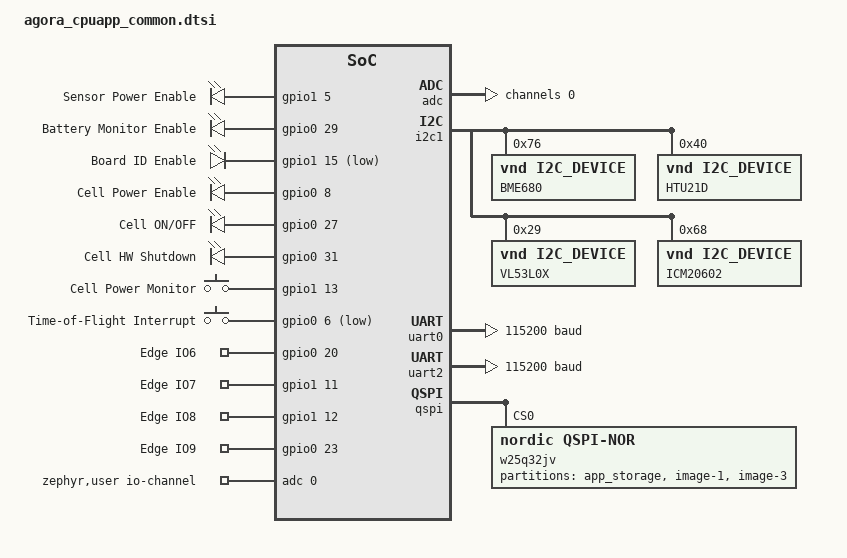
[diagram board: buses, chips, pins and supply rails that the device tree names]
#include "agora_common.dtsi"
#include "agora_cpuapp_pinctrl.dtsi"
#include <zephyr/dt-bindings/input/input-event-codes.h>

/ {

	chosen {
		zephyr,console = &uart0;
		zephyr,shell-uart = &uart0;
		zephyr,uart-mcumgr = &uart0;
		nordic,pm-ext-flash = &w25q32jv;
		zephyr,bt-mon-uart = &uart0;
		zephyr,bt-c2h-uart = &uart0;
		zephyr,bt-hci = &bt_hci_ipc0;
		nordic,802154-spinel-ipc = &ipc0;
	};

	brd_gpio_out {
		compatible = "gpio-leds";
		sensor_pwr_en: sensor_pwr_en {
			gpios = <&gpio1 5 GPIO_ACTIVE_HIGH>;
			label = "Sensor Power Enable";
		};

		bat_mon_en: bat_mon_en {
			gpios = <&gpio0 29 GPIO_ACTIVE_HIGH>;
			label = "Battery Monitor Enable";
		};

		board_id_en: board_id_en {
			gpios = <&gpio1 15 GPIO_ACTIVE_LOW>;
			label = "Board ID Enable";
		};

		cell_pwr_en: cell_pwr_en {
			gpios = <&gpio0 8 GPIO_ACTIVE_HIGH>;
			label = "Cell Power Enable";
		};

		cell_on_off: cell_on_off {
			gpios = <&gpio0 27 GPIO_ACTIVE_HIGH>;
			label = "Cell ON/OFF";
		};

		cell_hw_shutdown: cell_hw_shutdown {
			gpios = <&gpio0 31 GPIO_ACTIVE_HIGH>;
			label = "Cell HW Shutdown";
		};
	};

	brd_gpio_in {
		compatible = "gpio-keys";
		cell_pwr_mon: cell_pwr_mon {
			gpios = <&gpio1 13 (GPIO_PULL_DOWN | GPIO_ACTIVE_HIGH)>;
			label = "Cell Power Monitor";
		};

		int_tof: int_tof {
			gpios = <&gpio0 6 GPIO_ACTIVE_LOW >;
			label = "Time-of-Flight Interrupt";
		};

		te_gpio6: te_gpio6 {
			gpios = <&gpio0 20 (GPIO_PULL_DOWN | GPIO_ACTIVE_HIGH) >;
			label = "Edge IO6";
		};

		te_gpio7: te_gpio7 {
			gpios = <&gpio1 11 (GPIO_PULL_DOWN | GPIO_ACTIVE_HIGH) >;
			label = "Edge IO7";
		};

		te_gpio8: te_gpio8 {
			gpios = <&gpio1 12 (GPIO_PULL_DOWN | GPIO_ACTIVE_HIGH) >;
			label = "Edge IO8";
		};

		te_gpio9: te_gpio9 {
			gpios = <&gpio0 23 (GPIO_PULL_DOWN | GPIO_ACTIVE_HIGH) >;
			label = "Edge IO9";
		};
	};

};

&adc {
	status = "okay";
	#address-cells = <1>;
	#size-cells = <0>;

	channel@0 {
		reg = <0>;
		zephyr,gain = "ADC_GAIN_1_6";
		zephyr,reference = "ADC_REF_INTERNAL";
		zephyr,acquisition-time = <ADC_ACQ_TIME_DEFAULT>;
		zephyr,input-positive = <NRF_SAADC_AIN0>;
		zephyr,resolution = <12>;
	};
};

&gpiote {
	status = "okay";
};

&gpio0 {
	status = "okay";
};

&gpio1 {
	status = "okay";

	/*sensor_pwr_en_hog {
		gpio-hog;
		gpios = <5 GPIO_ACTIVE_HIGH>;
		output-high;
	};*/
};

&i2c1 {
	compatible = "nordic,nrf-twim";
	status = "okay";
	pinctrl-0 = <&i2c1_default>;
	pinctrl-1 = <&i2c1_sleep>;
	pinctrl-names = "default", "sleep";

	bme680: bme680@76 {
		compatible = "vnd,i2c_device";
		label = "BME680";
		status = "okay";
		reg = <0x76>;
	};

	htu21d: htu21d@40 {
		compatible = "vnd,i2c_device";
		label = "HTU21D";
		status = "okay";
		reg = <0x40>;
	};

	vl53l0x: vl53l0x@29 {
		compatible = "vnd,i2c_device";
		label = "VL53L0X";
		status = "okay";
		reg = <0x29>;
	};

	icm20602: icm20602@68 {
		compatible = "vnd,i2c_device";
		label = "ICM20602";
		status = "okay";
		reg = <0x68>;
	};
};

&uart0 {
	status = "okay";
	current-speed = <115200>;
	pinctrl-0 = <&uart0_default>;
	pinctrl-1 = <&uart0_sleep>;
	pinctrl-names = "default", "sleep";
};

&uart2 {
	status = "okay";
	current-speed = <115200>;
	pinctrl-0 = <&uart2_default>;
	pinctrl-1 = <&uart2_sleep>;
	pinctrl-names = "default", "sleep";
};

&flash0 {
	partitions {
		compatible = "fixed-partitions";
		#address-cells = <1>;
		#size-cells = <1>;

		boot_partition: partition@0 {
			label = "mcuboot";
			reg = <0x00000000 DT_SIZE_K(48)>;
		};

		/* slot0 / MCUboot primary slot*/
		slot0_partition: partition@c000 {
			label = "image-0";
			reg = <0x0000c000 DT_SIZE_K(900)>;
		};

		/* slot1 / MCUboot secondary is in external QSPI flash (see below) */
	};
};

&qspi {
	status = "okay";
	pinctrl-0 = <&qspi_default>;
	pinctrl-1 = <&qspi_sleep>;
	pinctrl-names = "default", "sleep";

	w25q32jv: w25q32jv@0 {
		compatible = "nordic,qspi-nor";
		reg = <0>;
		writeoc = "pp4o";
		readoc = "read4o";
		sck-frequency = <8000000>;
		jedec-id = [ef 40 16];
		size = <33554432>;
		/* ========================================================= */
		/* ADD LOW POWER PROPERTIES DIRECTLY INSIDE THE CHILD CHIP BLOCK */
		/* ========================================================= */
		has-dpd;              /* Enables Deep Power-Down command handling (0xB9) */
		t-enter-dpd = <3000>; /* Winbond W25Q32JV max duration to enter DPD (3000ns) */
		t-exit-dpd = <3000>;  /* Winbond W25Q32JV max duration to exit DPD (3000ns) */

		partitions {
			compatible = "fixed-partitions";
			#address-cells = <1>;
			#size-cells = <1>;

			app_storage_parition: partition@0 {
				label = "app_storage";
				reg = <0x0 0x2cc000>;
			};

			/* slot1 / MCUboot secondary slot */
			slot1_partition: partition@2cc000 {
				label = "image-1";
				reg = <0x002cc000 DT_SIZE_K(900)>;
			};

			/* Net core secondary slot for multi-image DFU */
			slot3_partition: partition@3c0000 {
				label = "image-3";
				reg = <0x3c0000 0x40000>;
			};
		};
	};
};

/ {
	zephyr,user {
		io-channels = <&adc 0>;
	};
};

/* Include default memory partition configuration file */
#include "agora_cpuapp_partitioning.dtsi"
